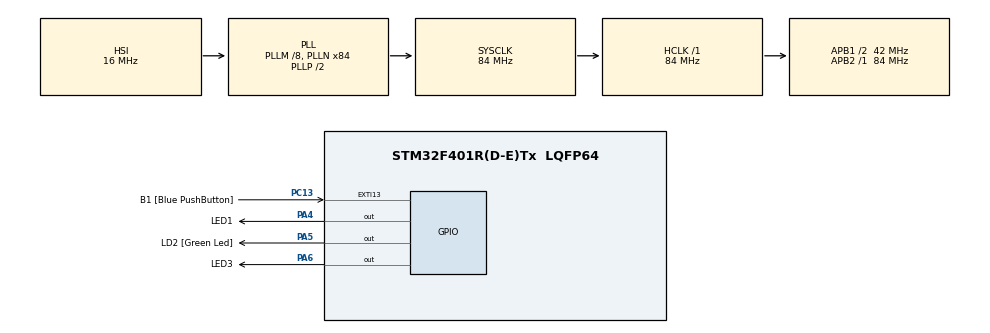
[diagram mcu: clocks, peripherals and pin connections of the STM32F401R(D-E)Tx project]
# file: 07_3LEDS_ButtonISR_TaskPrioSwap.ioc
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Mcu.Family=STM32F4
Mcu.Name=STM32F401R(D-E)Tx
Mcu.Package=LQFP64
NVIC.EXTI15_10_IRQn=true\:5\:0\:true\:false\:true\:true\:false\:true
NVIC.PriorityGroup=NVIC_PRIORITYGROUP_4
NVIC.TIM1_UP_TIM10_IRQn=true\:0\:0\:true\:false\:true\:false\:true\:true
NVIC.TimeBase=TIM1_UP_TIM10_IRQn
NVIC.TimeBaseIP=TIM1
PA13.GPIO_Label=TMS
PA13.Signal=SYS_JTMS-SWDIO
PA14.GPIO_Label=TCK
PA14.Signal=SYS_JTCK-SWCLK
PA2.GPIO_Label=USART_TX
PA2.GPIO_Mode=GPIO_MODE_AF_PP
PA2.GPIO_PuPd=GPIO_NOPULL
PA2.GPIO_Speed=GPIO_SPEED_FREQ_LOW
PA2.Signal=USART2_TX
PA3.GPIO_Label=USART_RX
PA3.GPIO_Mode=GPIO_MODE_AF_PP
PA3.GPIO_PuPd=GPIO_NOPULL
PA3.GPIO_Speed=GPIO_SPEED_FREQ_LOW
PA3.Signal=USART2_RX
PA4.GPIO_Label=LED1
PA4.Signal=GPIO_Output
PA5.GPIO_Label=LD2 [Green Led]
PA5.GPIO_Mode=GPIO_MODE_OUTPUT_PP
PA5.GPIO_PuPd=GPIO_NOPULL
PA5.GPIO_Speed=GPIO_SPEED_FREQ_LOW
PA5.Signal=GPIO_Output
PA6.GPIO_Label=LED3
PA6.Signal=GPIO_Output
PB3.GPIO_Label=SWO
PB3.Signal=SYS_JTDO-SWO
PC13-ANTI_TAMP.GPIO_Label=B1 [Blue PushButton]
PC13-ANTI_TAMP.GPIO_ModeDefaultEXTI=GPIO_MODE_IT_RISING
PC13-ANTI_TAMP.GPIO_PuPd=GPIO_NOPULL
PC13-ANTI_TAMP.Signal=GPXTI13
PC14-OSC32_IN.Signal=RCC_OSC32_IN
PC15-OSC32_OUT.Signal=RCC_OSC32_OUT
PH0\ -\ OSC_IN.Signal=RCC_OSC_IN
PH1\ -\ OSC_OUT.Signal=RCC_OSC_OUT
ProjectManager.HeapSize=0x200
ProjectManager.StackSize=0x400
ProjectManager.TargetToolchain=STM32CubeIDE
RCC.48MHZClocksFreq_Value=24000000
RCC.AHBFreq_Value=84000000
RCC.APB1CLKDivider=RCC_HCLK_DIV2
RCC.APB1Freq_Value=42000000
RCC.APB1TimFreq_Value=84000000
RCC.APB2Freq_Value=84000000
RCC.APB2TimFreq_Value=84000000
RCC.CortexFreq_Value=84000000
RCC.HCLKFreq_Value=84000000
RCC.HSE_VALUE=8000000
RCC.HSI_VALUE=16000000
RCC.LSE_VALUE=32768
RCC.PLLM=8
RCC.PLLN=84
RCC.PLLQ=7
RCC.SYSCLKFreq_VALUE=84000000
RCC.SYSCLKSource=RCC_SYSCLKSOURCE_PLLCLK
RCC.VCOOutputFreq_Value=168000000
VP_SYS_VS_tim1.Mode=TIM1
board=NUCLEO-F401RE

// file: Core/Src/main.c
/* USER CODE BEGIN Header */
/**
  ******************************************************************************
  * @file           : main.c
  * @brief          : Main program body
  ******************************************************************************
  * @attention
  *
  * Copyright (c) 2024 STMicroelectronics.
  * All rights reserved.
  *
  * This software is licensed under terms that can be found in the LICENSE file
  * in the root directory of this software component.
  * If no LICENSE file comes with this software, it is provided AS-IS.
  *
  ******************************************************************************
  */
/* USER CODE END Header */
#include "main.h"

/* USER CODE BEGIN Includes */
#include <stdio.h>
#include <SEGGER_SYSVIEW.h>
#include "ApplMain.h"
#include "FreeRTOS.h"
#include "task.h"
/* USER CODE END Includes */

/* USER CODE BEGIN PM */
#define DWT_CTRL			(*((uint32_t*)0xE0001000))
#define DWT_CYCCNT 			(*((uint32_t*)0xE0001004))
#define DWT_CTRL_BIT_CYCCNTENA			(0)
/* USER CODE END PM */

void SystemClock_Config(void);
static void MX_GPIO_Init(void);
/* USER CODE BEGIN PFP */
extern void initialise_monitor_handles();
extern void SEGGER_UART_init(uint32_t baud);
/* USER CODE END PFP */

/* USER CODE BEGIN 0 */
void enable_dwt_ts() {
	DWT_CTRL |= 1 << DWT_CTRL_BIT_CYCCNTENA;
	return;
}
/* USER CODE END 0 */

int main(void)
{

  /* USER CODE BEGIN 1 */
  initialise_monitor_handles();
  printf("Hello world..\n");
  /* USER CODE END 1 */

  /* MCU Configuration--------------------------------------------------------*/

  /* Reset of all peripherals, Initializes the Flash interface and the Systick. */
  HAL_Init();

  /* Configure the system clock */
  SystemClock_Config();

  /* Initialize all configured peripherals */
  MX_GPIO_Init();
  /* USER CODE BEGIN 2 */
  //Enable cycle counter
  SEGGER_UART_init(500000U);

  enable_dwt_ts();

  SEGGER_SYSVIEW_Conf();
  const uint16_t TASK_STACK_SIZE =  (2U * 1024U/4) ;// 2kb
  TaskHandle_t ApplMainHandle;

  BaseType_t xReturnApplMain =
      xTaskCreate(&ApplMain, "ApplMain", TASK_STACK_SIZE,
                  NULL, 1, &ApplMainHandle);

  if (xReturnApplMain != pdPASS) {
    printf("main: Failed to create task: MainTask\n");
    vTaskDelete(ApplMainHandle);
  }
  {
	  char msg[30] = {0};
	  snprintf(msg, 30,"Starting Scheduler...\n");
	  SEGGER_SYSVIEW_PrintfTarget(msg);
	//  HAL_Delay(500);
	  //for(int i =0; i < 1000000;  i++);
  }
  vTaskStartScheduler();
  /* USER CODE END 2 */

  /* Infinite loop */
  while (1)
  {

  }
}

void SystemClock_Config(void)
{
  RCC_OscInitTypeDef RCC_OscInitStruct = {0};
  RCC_ClkInitTypeDef RCC_ClkInitStruct = {0};

  /** Configure the main internal regulator output voltage
  */
  __HAL_RCC_PWR_CLK_ENABLE();
  __HAL_PWR_VOLTAGESCALING_CONFIG(PWR_REGULATOR_VOLTAGE_SCALE2);

  /** Initializes the RCC Oscillators according to the specified parameters
  * in the RCC_OscInitTypeDef structure.
  */
  RCC_OscInitStruct.OscillatorType = RCC_OSCILLATORTYPE_HSI;
  RCC_OscInitStruct.HSIState = RCC_HSI_ON;
  RCC_OscInitStruct.HSICalibrationValue = RCC_HSICALIBRATION_DEFAULT;
  RCC_OscInitStruct.PLL.PLLState = RCC_PLL_ON;
  RCC_OscInitStruct.PLL.PLLSource = RCC_PLLSOURCE_HSI;
  RCC_OscInitStruct.PLL.PLLM = 8;
  RCC_OscInitStruct.PLL.PLLN = 84;
  RCC_OscInitStruct.PLL.PLLP = RCC_PLLP_DIV2;
  RCC_OscInitStruct.PLL.PLLQ = 7;
  if (HAL_RCC_OscConfig(&RCC_OscInitStruct) != HAL_OK)
  {
    Error_Handler();
  }

  /** Initializes the CPU, AHB and APB buses clocks
  */
  RCC_ClkInitStruct.ClockType = RCC_CLOCKTYPE_HCLK|RCC_CLOCKTYPE_SYSCLK
                              |RCC_CLOCKTYPE_PCLK1|RCC_CLOCKTYPE_PCLK2;
  RCC_ClkInitStruct.SYSCLKSource = RCC_SYSCLKSOURCE_PLLCLK;
  RCC_ClkInitStruct.AHBCLKDivider = RCC_SYSCLK_DIV1;
  RCC_ClkInitStruct.APB1CLKDivider = RCC_HCLK_DIV2;
  RCC_ClkInitStruct.APB2CLKDivider = RCC_HCLK_DIV1;

  if (HAL_RCC_ClockConfig(&RCC_ClkInitStruct, FLASH_LATENCY_2) != HAL_OK)
  {
    Error_Handler();
  }
}

static void MX_GPIO_Init(void)
{
  GPIO_InitTypeDef GPIO_InitStruct = {0};

  /* GPIO Ports Clock Enable */
  __HAL_RCC_GPIOC_CLK_ENABLE();
  __HAL_RCC_GPIOH_CLK_ENABLE();
  __HAL_RCC_GPIOA_CLK_ENABLE();
  __HAL_RCC_GPIOB_CLK_ENABLE();

  /*Configure GPIO pin Output Level */
  HAL_GPIO_WritePin(GPIOA, LED1_Pin|LD2_Pin|LED3_Pin, GPIO_PIN_RESET);

  /*Configure GPIO pin : B1_Pin */
  GPIO_InitStruct.Pin = B1_Pin;
  GPIO_InitStruct.Mode = GPIO_MODE_IT_RISING;
  GPIO_InitStruct.Pull = GPIO_NOPULL;
  HAL_GPIO_Init(B1_GPIO_Port, &GPIO_InitStruct);

  /*Configure GPIO pins : USART_TX_Pin USART_RX_Pin */
  GPIO_InitStruct.Pin = USART_TX_Pin|USART_RX_Pin;
  GPIO_InitStruct.Mode = GPIO_MODE_AF_PP;
  GPIO_InitStruct.Pull = GPIO_NOPULL;
  GPIO_InitStruct.Speed = GPIO_SPEED_FREQ_LOW;
  GPIO_InitStruct.Alternate = GPIO_AF7_USART2;
  HAL_GPIO_Init(GPIOA, &GPIO_InitStruct);

  /*Configure GPIO pins : LED1_Pin LD2_Pin LED3_Pin */
  GPIO_InitStruct.Pin = LED1_Pin|LD2_Pin|LED3_Pin;
  GPIO_InitStruct.Mode = GPIO_MODE_OUTPUT_PP;
  GPIO_InitStruct.Pull = GPIO_NOPULL;
  GPIO_InitStruct.Speed = GPIO_SPEED_FREQ_LOW;
  HAL_GPIO_Init(GPIOA, &GPIO_InitStruct);

  /* EXTI interrupt init*/
  HAL_NVIC_SetPriority(EXTI15_10_IRQn, 5, 0);
  HAL_NVIC_EnableIRQ(EXTI15_10_IRQn);

}

void HAL_TIM_PeriodElapsedCallback(TIM_HandleTypeDef *htim)
{
  if (htim->Instance == TIM1) {
    HAL_IncTick();
  }
}

void Error_Handler(void)
{
  __disable_irq();
  while (1)
  {
  }
}
